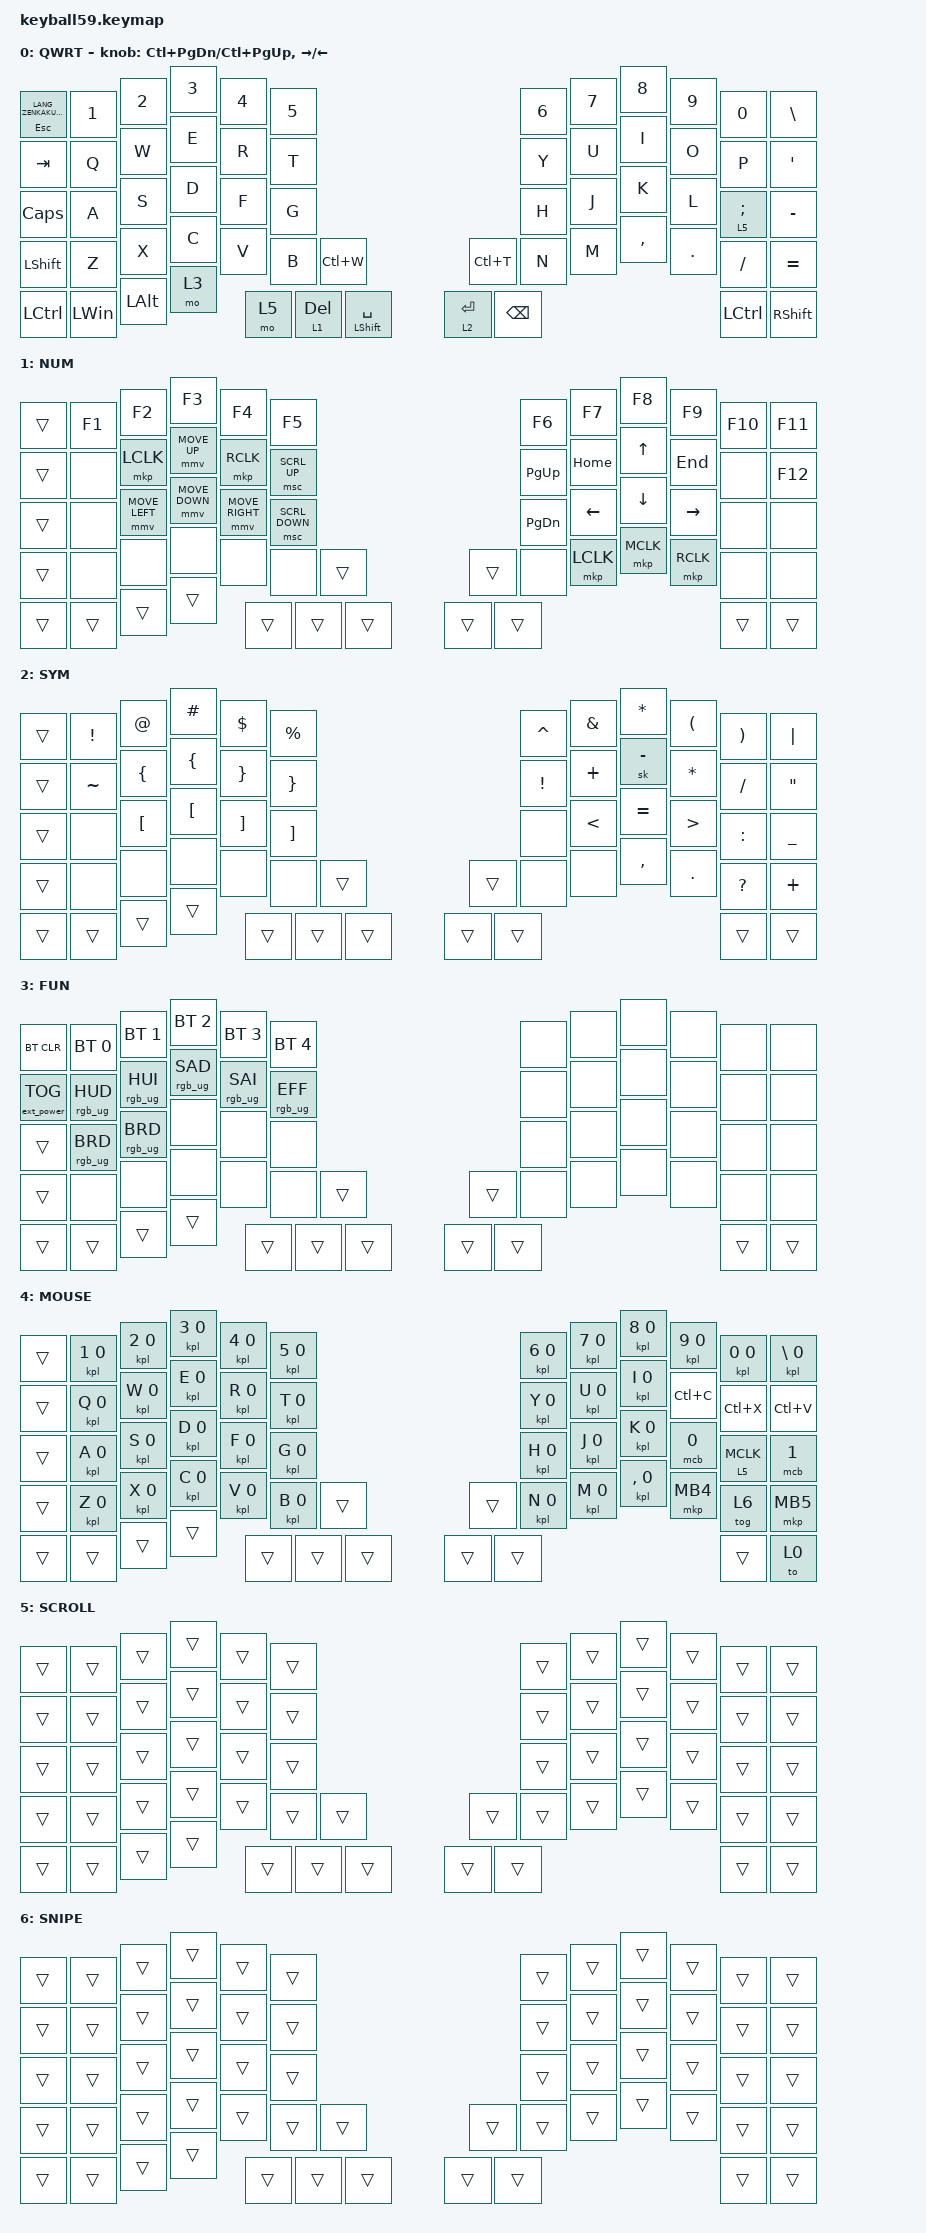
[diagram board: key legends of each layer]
#define DEFAULT 0
#define SYM     1
#define FUN     2
#define MOUSE   3
#define SCROLL  4
#define SNIPE   5

#include <behaviors/mouse_keys.dtsi>
#include <dt-bindings/zmk/mouse.h>
#include <behaviors.dtsi>
#include <dt-bindings/zmk/bt.h>
#include <dt-bindings/zmk/ext_power.h>
#include <dt-bindings/zmk/keys.h>
#include <dt-bindings/zmk/pointing.h>
#include <dt-bindings/zmk/rgb.h>

&lt {
    tapping-term-ms = <240>;
    flavor = "balanced";
    quick-tap-ms = <150>;
};

&mt {
    tapping-term-ms = <200>;
    flavor = "tap-preferred";
    quick-tap-ms = <150>;
};

/ {
    behaviors {
        mlt: mlt {
            compatible = "zmk,behavior-hold-tap";
            label = "MLT";
            bindings = <&mo>, <&mkp>;

            #binding-cells = <2>;
            tapping-term-ms = <200>;
            flavor = "balanced";
        };

        /* 左クリック＋0.5 s でレイヤー0へ戻る */

        mcb: mouse_click_back {
            compatible = "zmk,behavior-mouse-click-back";
            timeout-ms = <1000>;   /* 任意変更可 */
            //          return-layer  = <0>;   /* 任意変更可 */

            #binding-cells = <1>;

            /* param1 is button of the mouse to click(0=MB1, 1=MB2, 2=MB3, etc.) */
        };

        kpl: key_press_to_layer {
            compatible = "zmk,behavior-key-press-to-layer";
            #binding-cells = <2>;
        };
    };

    macros {
        cut_and_back: cut_and_back {
            compatible = "zmk,behavior-macro";
            #binding-cells = <0>;
            bindings =
                <&macro_press>,
                <&mkp LCLK>,
                <&macro_pause_for_release>,
                <&macro_release>,
                <&mkp LCLK>,
                <&macro_tap>,
                <&kp LC(X)>;

            label = "CUT_AND_BACK";
        };

        paste_and_back: paste_and_back {
            compatible = "zmk,behavior-macro";
            #binding-cells = <0>;
            bindings =
                <&macro_tap>,
                <&mkp LCLK>,
                <&macro_tap>,
                <&kp LC(V)>,
                <&macro_pause_for_release>,
                <&macro_tap>,
                <&to 0>;

            label = "PASTE_AND_BACK";
        };

        copy_and_back: copy_and_back {
            compatible = "zmk,behavior-macro";
            #binding-cells = <0>;
            bindings =
                <&macro_press>,
                <&mkp LCLK>,
                <&macro_pause_for_release>,
                <&macro_release>,
                <&mkp LCLK>,
                <&macro_tap>,
                <&kp LC(C)>;

            label = "COPY_AND_BACK";
        };
    };

    keymap {
        compatible = "zmk,keymap";

        default_layer {
            label = "QWRT";
            bindings = <
&mt ESC LANG_ZENKAKUHANKAKU  &kp N1        &kp N2        &kp N3  &kp N4  &kp N5                                       &kp N6         &kp N7  &kp N8     &kp N9   &kp N0            &kp BACKSLASH
&kp TAB                      &kp Q         &kp W         &kp E   &kp R   &kp T                                        &kp Y          &kp U   &kp I      &kp O    &kp P             &kp APOS
&kp CAPS                     &kp A         &kp S         &kp D   &kp F   &kp G                                        &kp H          &kp J   &kp K      &kp L    &lt 5 SEMICOLON   &kp MINUS
&kp LEFT_SHIFT               &kp Z         &kp X         &kp C   &kp V   &kp B         &kp LC(W)         &kp LC(T)    &kp N          &kp M   &kp COMMA  &kp DOT  &kp FSLH          &kp EQUAL
&kp LEFT_CONTROL             &kp LEFT_WIN  &kp LEFT_ALT  &mo 3   &mo 5   &lt 1 DELETE  &mt LSHIFT SPACE  &lt 2 ENTER  &kp BACKSPACE                              &kp LEFT_CONTROL  &kp RSHIFT
            >;

            sensor-bindings =
                <&inc_dec_kp LC(PAGE_DOWN) LC(PAGE_UP)>,
                <&inc_dec_kp RIGHT LEFT>;
        };

        number_layer {
            bindings = <
&trans  &kp F1  &kp F2          &kp F3          &kp F4           &kp F5                          &kp F6     &kp F7     &kp F8     &kp F9     &kp F10  &kp F11
&trans  &none   &mkp LCLK       &mmv MOVE_UP    &mkp RCLK        &msc SCRL_UP                    &kp PG_UP  &kp HOME   &kp UP     &kp END    &none    &kp F12
&trans  &none   &mmv MOVE_LEFT  &mmv MOVE_DOWN  &mmv MOVE_RIGHT  &msc SCRL_DOWN                  &kp PG_DN  &kp LEFT   &kp DOWN   &kp RIGHT  &none    &none
&trans  &none   &none           &none           &none            &none           &trans  &trans  &none      &mkp LCLK  &mkp MCLK  &mkp RCLK  &none    &none
&trans  &trans  &trans          &trans          &trans           &trans          &trans  &trans  &trans                                      &trans   &trans
            >;

            label = "NUM";
        };

        symbol_layer {
            label = "SYM";
            bindings = <
&trans  &kp EXCLAMATION  &kp AT_SIGN       &kp HASH          &kp DOLLAR         &kp PERCENT                        &kp CARET        &kp AMPERSAND  &kp ASTERISK  &kp LEFT_PARENTHESIS  &kp RIGHT_PARENTHESIS  &kp PIPE
&trans  &kp TILDE        &kp LEFT_BRACE    &kp LEFT_BRACE    &kp RIGHT_BRACE    &kp RIGHT_BRACE                    &kp EXCLAMATION  &kp PLUS       &sk MINUS     &kp ASTERISK          &kp SLASH              &kp DOUBLE_QUOTES
&trans  &none            &kp LEFT_BRACKET  &kp LEFT_BRACKET  &kp RIGHT_BRACKET  &kp RIGHT_BRACKET                  &none            &kp LESS_THAN  &kp EQUAL     &kp GREATER_THAN      &kp COLON              &kp UNDERSCORE
&trans  &none            &none             &none             &none              &none              &trans  &trans  &none            &none          &kp COMMA     &kp PERIOD            &kp QUESTION           &kp PLUS
&trans  &trans           &trans            &trans            &trans             &trans             &trans  &trans  &trans                                                              &trans                 &trans
            >;
        };

        function_layer {
            label = "FUN";
            bindings = <
&bt BT_CLR         &bt BT_SEL 0     &bt BT_SEL 1     &bt BT_SEL 2     &bt BT_SEL 3     &bt BT_SEL 4                     &none   &none  &none  &none  &none   &none
&ext_power EP_TOG  &rgb_ug RGB_HUD  &rgb_ug RGB_HUI  &rgb_ug RGB_SAD  &rgb_ug RGB_SAI  &rgb_ug RGB_EFF                  &none   &none  &none  &none  &none   &none
&trans             &rgb_ug RGB_BRD  &rgb_ug RGB_BRD  &none            &none            &none                            &none   &none  &none  &none  &none   &none
&trans             &none            &none            &none            &none            &none            &trans  &trans  &none   &none  &none  &none  &none   &none
&trans             &trans           &trans           &trans           &trans           &trans           &trans  &trans  &trans                       &trans  &trans
            >;
        };

        mouse_layer {
            label = "MOUSE";
            bindings = <
&trans  &kpl N1 0  &kpl N2 0  &kpl N3 0  &kpl N4 0  &kpl N5 0                  &kpl N6 0  &kpl N7 0  &kpl N8 0     &kpl N9 0  &kpl N0 0    &kpl BACKSLASH 0
&trans  &kpl Q 0   &kpl W 0   &kpl E 0   &kpl R 0   &kpl T 0                   &kpl Y 0   &kpl U 0   &kpl I 0      &kp LC(C)  &kp LC(X)    &kp LC(V)
&trans  &kpl A 0   &kpl S 0   &kpl D 0   &kpl F 0   &kpl G 0                   &kpl H 0   &kpl J 0   &kpl K 0      &mcb 0     &mlt 5 MCLK  &mcb 1
&trans  &kpl Z 0   &kpl X 0   &kpl C 0   &kpl V 0   &kpl B 0   &trans  &trans  &kpl N 0   &kpl M 0   &kpl COMMA 0  &mkp MB4   &tog 6       &mkp MB5
&trans  &trans     &trans     &trans     &trans     &trans     &trans  &trans  &trans                                         &trans       &to 0
            >;
        };

        scroll_layer {
            label = "SCROLL";
            bindings = <
&trans  &trans  &trans  &trans  &trans  &trans                  &trans  &trans  &trans  &trans  &trans  &trans
&trans  &trans  &trans  &trans  &trans  &trans                  &trans  &trans  &trans  &trans  &trans  &trans
&trans  &trans  &trans  &trans  &trans  &trans                  &trans  &trans  &trans  &trans  &trans  &trans
&trans  &trans  &trans  &trans  &trans  &trans  &trans  &trans  &trans  &trans  &trans  &trans  &trans  &trans
&trans  &trans  &trans  &trans  &trans  &trans  &trans  &trans  &trans                          &trans  &trans
            >;
        };

        snipe_layer {
            label = "SNIPE";
            bindings = <
&trans  &trans  &trans  &trans  &trans  &trans                  &trans  &trans  &trans  &trans  &trans  &trans
&trans  &trans  &trans  &trans  &trans  &trans                  &trans  &trans  &trans  &trans  &trans  &trans
&trans  &trans  &trans  &trans  &trans  &trans                  &trans  &trans  &trans  &trans  &trans  &trans
&trans  &trans  &trans  &trans  &trans  &trans  &trans  &trans  &trans  &trans  &trans  &trans  &trans  &trans
&trans  &trans  &trans  &trans  &trans  &trans  &trans  &trans  &trans                          &trans  &trans
            >;
        };
    };
};
